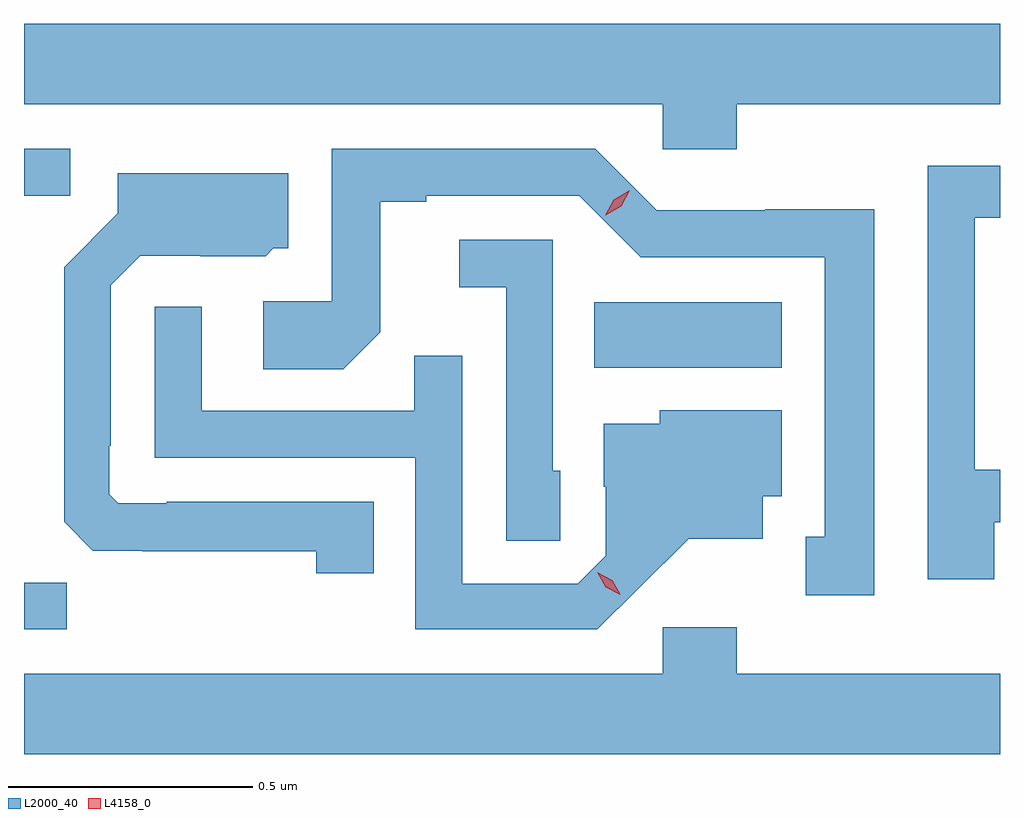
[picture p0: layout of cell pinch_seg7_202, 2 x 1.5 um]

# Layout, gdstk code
import gdstk
lib = gdstk.Library(unit=1e-6, precision=1e-09)
def R(c, l, rs):  # rectangles x0, y0, x1, y1
    for r in rs: c.add(gdstk.rectangle(r[:2], r[2:], *l))
def P(c, l, *ps):  # polygons
    for p in ps: c.add(gdstk.Polygon(p, *l))
L2000_40 = (2000, 40)
L4158_0 = (4158, 0)

pinch_seg7_202 = lib.new_cell('pinch_seg7_202')
R(pinch_seg7_202, L2000_40, [(1130.315,1020.852,1130.403,1020.947), (1131.484,1021.388,1131.868,1021.522), (1130.315,1021.74,1130.41,1021.836)])
P(pinch_seg7_202, L2000_40, [(1131.776,1021.928),(1132.315,1021.928),(1132.315,1022.092),(1130.315,1022.092),(1130.315,1021.928),(1131.624,1021.928),(1131.624,1021.835),(1131.776,1021.835)],
  [(1132.057,1021.712),(1131.834,1021.712),(1131.834,1021.71),(1131.612,1021.71),(1131.486,1021.836),(1130.946,1021.836),(1130.946,1021.524),(1130.805,1021.524),(1130.805,1021.384),(1130.969,1021.384),(1131.045,1021.46),(1131.045,1021.728),(1131.139,1021.728),(1131.139,1021.74),(1131.453,1021.74),(1131.579,1021.614),(1131.956,1021.614),(1131.956,1021.041),(1131.917,1021.041),(1131.917,1020.921),(1132.057,1020.921)],
  [(1132.303,1021.071),(1132.315,1021.071),(1132.315,1021.179),(1132.263,1021.179),(1132.263,1021.695),(1132.315,1021.695),(1132.315,1021.801),(1132.167,1021.801),(1132.167,1020.954),(1132.303,1020.954)],
  [(1131.032,1021.113),(1130.608,1021.113),(1130.608,1021.11),(1130.508,1021.11),(1130.49,1021.128),(1130.49,1021.228),(1130.493,1021.228),(1130.493,1021.557),(1130.553,1021.617),(1130.676,1021.617),(1130.676,1021.616),(1130.81,1021.616),(1130.826,1021.632),(1130.857,1021.632),(1130.857,1021.786),(1130.507,1021.786),(1130.507,1021.704),(1130.397,1021.594),(1130.397,1021.072),(1130.456,1021.013),(1130.557,1021.013),(1130.557,1021.012),(1130.914,1021.012),(1130.914,1020.966),(1131.032,1020.966)],
  [(1131.414,1021.176),(1131.399,1021.176),(1131.399,1021.65),(1131.207,1021.65),(1131.207,1021.553),(1131.303,1021.553),(1131.303,1021.033),(1131.414,1021.033)],
  [(1131.574,1020.935),(1131.677,1021.037),(1131.829,1021.037),(1131.829,1021.124),(1131.868,1021.124),(1131.868,1021.3),(1131.618,1021.3),(1131.618,1021.273),(1131.503,1021.273),(1131.503,1021.144),(1131.507,1021.144),(1131.507,1021.002),(1131.45,1020.945),(1131.213,1020.945),(1131.213,1021.412),(1131.115,1021.412),(1131.115,1021.299),(1130.679,1021.299),(1130.679,1021.513),(1130.583,1021.513),(1130.583,1021.203),(1131.117,1021.203),(1131.117,1020.852),(1131.49,1020.852)],
  [(1132.315,1020.76),(1131.776,1020.76),(1131.776,1020.856),(1131.624,1020.856),(1131.624,1020.76),(1130.315,1020.76),(1130.315,1020.596),(1132.315,1020.596)])
P(pinch_seg7_202, L4158_0, [(1131.506,1021.7),(1131.506,1021.7),(1131.524,1021.732),(1131.556,1021.751),(1131.556,1021.751),(1131.556,1021.751),(1131.539,1021.718),(1131.507,1021.7)],
  [(1131.537,1020.922),(1131.507,1020.938),(1131.49,1020.968),(1131.49,1020.968),(1131.49,1020.968),(1131.52,1020.952),(1131.537,1020.923),(1131.537,1020.922)])

lib.write_gds('pinch_seg7_202.gds')
